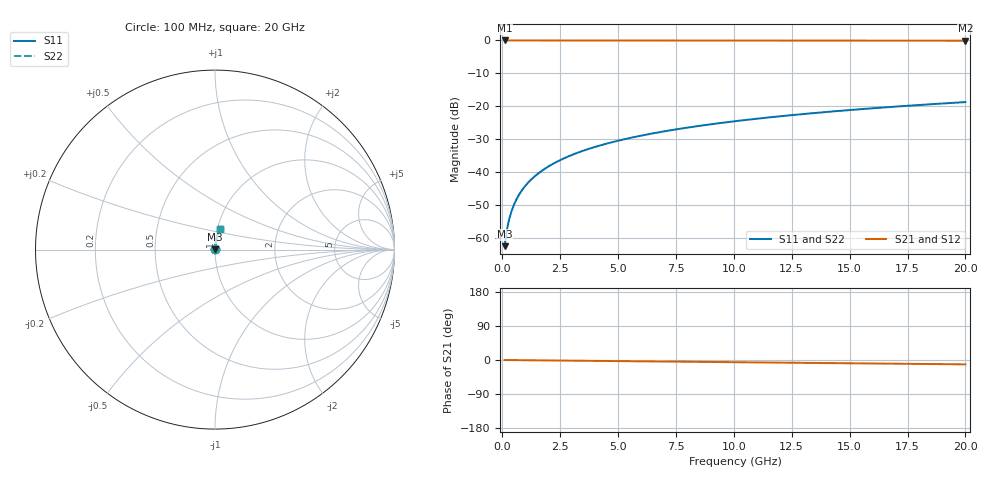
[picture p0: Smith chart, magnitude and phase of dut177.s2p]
! Touchstone file exported from HFSS 2026.1.0
!  File:  C:/ffzhzh/LocalFiles/Ansys_Project_Files/temp_train_TSV_177_1782991182_41620.aedt
!  Generated:  07:21:42 PM Jul  2, 2026
!  Design:  TSV
!  Project:  temp_train_TSV_177_1782991182_41620
! Variables:
!  h_bsmrdl = 2um
!  h_ox = 20um
!  h_rdl = 5um
!  h_sub = 88.7um
!  h_tmrdl = 5um
!  h_tsv = 88.7um
!  h_via = 3um
!  l_bsmrdl = 300um
!  l_sub = 410.54um
!  l_tmrdl = 200um
!  m_sub = 200um
!  pitch = 59.44um
!  r_tsv = 5.27um
!  s_tmrdl = 10um
!  w_bsmrdl = 18um
!  w_sub = 500um
!  w_tmrdl = 12um
!  x_tsv_center1 = 206um
!  x_tsv_center2 = 524um
!  x_tsv_center3 = 736um
!  x_tsv_center4 = 1054um
!  x_tsv_center5 = 1266um
!  x_tsv_center6 = 1584um
# GHz S MA R 50.000000
! Terminal data exported
! Port[1] = TSV1_1_T1
! Port[2] = TSV1_1_T2
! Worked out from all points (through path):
!   200 points, 100 MHz to 20 GHz, reference 50 ohm
!   highest |S21| = 0.00 dB at 100 MHz (marker M1); lowest = -0.1 dB at 20 GHz (marker M2)
!   group delay of S21, straight-line fit = 1.59 ps
!   lowest |S11| = -62.6 dB at 100 MHz (marker M3), VSWR 1.00, Z = 50 + j0.0627 ohm
!   |S11| at or under -10 dB: start of sweep to end of sweep
!   |S22| runs from -62.6 to -18.8 dB; largest |S21 - S12| = 4.3e-15
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0.1  0.0007413 57.7  0.9996 -0.1  0.9996 -0.1  0.0007413 57.7
! Gamma 0 0 0 0
! Port Impedance 50 0 50 0
0.2  0.001316 72.0  0.9996 -0.1  0.9996 -0.1  0.001316 72.0
0.3  0.001921 77.3  0.9996 -0.2  0.9996 -0.2  0.001921 77.3
0.4  0.002532 80.0  0.9996 -0.2  0.9996 -0.2  0.002532 80.0
0.5  0.003143 81.5  0.9995 -0.3  0.9995 -0.3  0.003143 81.5
0.7  0.004358 83.2  0.9995 -0.4  0.9995 -0.4  0.004358 83.2
0.8  0.004963 83.7  0.9995 -0.5  0.9995 -0.5  0.004963 83.7
1  0.006167 84.4  0.9994 -0.6  0.9994 -0.6  0.006167 84.4
1.2  0.007367 84.8  0.9994 -0.7  0.9994 -0.7  0.007367 84.8
1.4  0.008564 85.1  0.9993 -0.8  0.9993 -0.8  0.008564 85.1
1.7  0.01036 85.4  0.9993 -1.0  0.9993 -1.0  0.01036 85.4
2  0.01214 85.5  0.9992 -1.2  0.9992 -1.2  0.01214 85.5
2.7  0.0163 85.6  0.9991 -1.6  0.9991 -1.6  0.0163 85.6
3.5  0.02102 85.5  0.9989 -2.1  0.9989 -2.1  0.02102 85.5
4.2  0.02514 85.3  0.9987 -2.5  0.9987 -2.5  0.02514 85.3
5  0.02982 84.9  0.9984 -2.9  0.9984 -2.9  0.02982 84.9
6.8  0.04028 84.2  0.9979 -4.0  0.9979 -4.0  0.04028 84.2
8.3  0.04896 83.5  0.9974 -4.8  0.9974 -4.8  0.04896 83.5
10.1  0.05933 82.6  0.9967 -5.9  0.9967 -5.9  0.05933 82.6
13.4  0.07821 80.9  0.9951 -7.7  0.9951 -7.7  0.07821 80.9
16.7  0.09691 79.2  0.9933 -9.6  0.9933 -9.6  0.09691 79.2
20  0.1154 77.4  0.9911 -11.5  0.9911 -11.5  0.1154 77.4
